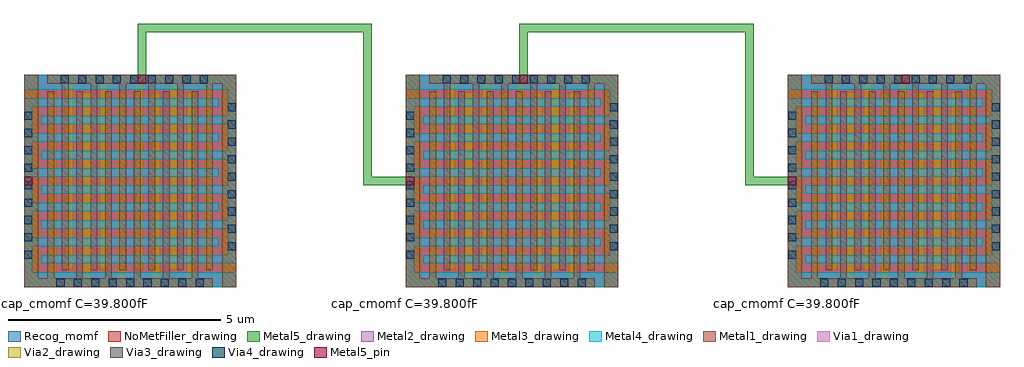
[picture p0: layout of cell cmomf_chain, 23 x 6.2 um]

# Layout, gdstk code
import gdstk
lib = gdstk.Library(unit=1e-6, precision=1e-09)
def R(c, l, rs):  # rectangles x0, y0, x1, y1
    for r in rs: c.add(gdstk.rectangle(r[:2], r[2:], *l))
def A(c, l, x, y, w, h, nx, ny, dx, dy):  # array of equal rectangles
    R(c, l, [(x+i*dx, y+j*dy, x+i*dx+w, y+j*dy+h) for i in range(nx) for j in range(ny)])
Metal1_drawing = (8, 0)
Metal2_drawing = (10, 0)
Via1_drawing = (19, 0)
Via2_drawing = (29, 0)
Metal3_drawing = (30, 0)
Via3_drawing = (49, 0)
Metal4_drawing = (50, 0)
Via4_drawing = (66, 0)
Metal5_drawing = (67, 0)
Metal5_pin = (67, 2)
Recog_momf = (99, 40)
NoMetFiller_drawing = (160, 0)

cmomf_chain = lib.new_cell('cmomf_chain')
A(cmomf_chain, Metal1_drawing, 0, 0, 4.45, 0.21, 3, 1, 9, 0)
A(cmomf_chain, Metal1_drawing, 0.55, 0, 0.16, 4.61, 6, 1, 0.68, 0)
A(cmomf_chain, Metal1_drawing, 9.55, 0, 0.16, 4.61, 6, 1, 0.68, 0)
A(cmomf_chain, Metal1_drawing, 18.55, 0, 0.16, 4.61, 6, 1, 0.68, 0)
A(cmomf_chain, Metal1_drawing, 0.89, 0.39, 0.16, 4.61, 6, 1, 0.68, 0)
A(cmomf_chain, Metal1_drawing, 9.89, 0.39, 0.16, 4.61, 6, 1, 0.68, 0)
A(cmomf_chain, Metal1_drawing, 18.89, 0.39, 0.16, 4.61, 6, 1, 0.68, 0)
A(cmomf_chain, Metal1_drawing, 0.55, 4.79, 4.45, 0.21, 3, 1, 9, 0)
R(cmomf_chain, Metal1_drawing, [(0,0,0.33,5), (4.67,0,5,5), (9,0,9.33,5), (13.67,0,14,5), (18,0,18.33,5), (22.67,0,23,5)])
A(cmomf_chain, Metal2_drawing, 0, 0, 5, 0.345, 3, 2, 9, 4.655)
A(cmomf_chain, Metal2_drawing, 0, 0, 0.205, 4.445, 3, 1, 9, 0)
A(cmomf_chain, Metal2_drawing, 0.42, 0.555, 4.58, 0.2, 3, 5, 9, 0.82)
A(cmomf_chain, Metal2_drawing, 4.795, 0.555, 0.205, 4.445, 3, 1, 9, 0)
A(cmomf_chain, Metal2_drawing, 0, 0.965, 4.58, 0.2, 3, 5, 9, 0.82)
A(cmomf_chain, Via1_drawing, 0.765, 0.01, 0.19, 0.19, 9, 1, 0.41, 0)
A(cmomf_chain, Via1_drawing, 9.765, 0.01, 0.19, 0.19, 9, 1, 0.41, 0)
A(cmomf_chain, Via1_drawing, 18.765, 0.01, 0.19, 0.19, 9, 1, 0.41, 0)
A(cmomf_chain, Via1_drawing, 0.01, 0.665, 0.19, 0.19, 3, 9, 9, 0.41)
A(cmomf_chain, Via1_drawing, 4.8, 0.865, 0.19, 0.19, 3, 9, 9, 0.41)
A(cmomf_chain, Via1_drawing, 0.865, 4.8, 0.19, 0.19, 9, 1, 0.41, 0)
A(cmomf_chain, Via1_drawing, 9.865, 4.8, 0.19, 0.19, 9, 1, 0.41, 0)
A(cmomf_chain, Via1_drawing, 18.865, 4.8, 0.19, 0.19, 9, 1, 0.41, 0)
A(cmomf_chain, Via2_drawing, 0.765, 0.005, 0.19, 0.19, 9, 1, 0.41, 0)
A(cmomf_chain, Via2_drawing, 9.765, 0.005, 0.19, 0.19, 9, 1, 0.41, 0)
A(cmomf_chain, Via2_drawing, 18.765, 0.005, 0.19, 0.19, 9, 1, 0.41, 0)
A(cmomf_chain, Via2_drawing, 0.005, 0.665, 0.19, 0.19, 3, 9, 9, 0.41)
A(cmomf_chain, Via2_drawing, 4.805, 0.865, 0.19, 0.19, 3, 9, 9, 0.41)
A(cmomf_chain, Via2_drawing, 0.865, 4.805, 0.19, 0.19, 9, 1, 0.41, 0)
A(cmomf_chain, Via2_drawing, 9.865, 4.805, 0.19, 0.19, 9, 1, 0.41, 0)
A(cmomf_chain, Via2_drawing, 18.865, 4.805, 0.19, 0.19, 9, 1, 0.41, 0)
A(cmomf_chain, Metal3_drawing, 0, 0, 4.445, 0.2, 3, 1, 9, 0)
A(cmomf_chain, Metal3_drawing, 0.555, 0, 0.2, 4.59, 5, 1, 0.82, 0)
A(cmomf_chain, Metal3_drawing, 9.555, 0, 0.2, 4.59, 5, 1, 0.82, 0)
A(cmomf_chain, Metal3_drawing, 18.555, 0, 0.2, 4.59, 5, 1, 0.82, 0)
A(cmomf_chain, Metal3_drawing, 0.965, 0.41, 0.2, 4.59, 5, 1, 0.82, 0)
A(cmomf_chain, Metal3_drawing, 9.965, 0.41, 0.2, 4.59, 5, 1, 0.82, 0)
A(cmomf_chain, Metal3_drawing, 18.965, 0.41, 0.2, 4.59, 5, 1, 0.82, 0)
A(cmomf_chain, Metal3_drawing, 0.555, 4.8, 4.445, 0.2, 3, 1, 9, 0)
R(cmomf_chain, Metal3_drawing, [(0,0,0.345,5), (4.655,0,5,5), (9,0,9.345,5), (13.655,0,14,5), (18,0,18.345,5), (22.655,0,23,5)])
A(cmomf_chain, Via3_drawing, 0.765, 0.005, 0.19, 0.19, 9, 1, 0.41, 0)
A(cmomf_chain, Via3_drawing, 9.765, 0.005, 0.19, 0.19, 9, 1, 0.41, 0)
A(cmomf_chain, Via3_drawing, 18.765, 0.005, 0.19, 0.19, 9, 1, 0.41, 0)
A(cmomf_chain, Via3_drawing, 0.005, 0.665, 0.19, 0.19, 3, 9, 9, 0.41)
A(cmomf_chain, Via3_drawing, 4.805, 0.865, 0.19, 0.19, 3, 9, 9, 0.41)
A(cmomf_chain, Via3_drawing, 0.865, 4.805, 0.19, 0.19, 9, 1, 0.41, 0)
A(cmomf_chain, Via3_drawing, 9.865, 4.805, 0.19, 0.19, 9, 1, 0.41, 0)
A(cmomf_chain, Via3_drawing, 18.865, 4.805, 0.19, 0.19, 9, 1, 0.41, 0)
A(cmomf_chain, Metal4_drawing, 0, 0, 5, 0.345, 3, 2, 9, 4.655)
A(cmomf_chain, Metal4_drawing, 0, 0, 0.2, 4.445, 3, 1, 9, 0)
A(cmomf_chain, Metal4_drawing, 0.41, 0.555, 4.59, 0.2, 3, 5, 9, 0.82)
A(cmomf_chain, Metal4_drawing, 4.8, 0.555, 0.2, 4.445, 3, 1, 9, 0)
A(cmomf_chain, Metal4_drawing, 0, 0.965, 4.59, 0.2, 3, 5, 9, 0.82)
A(cmomf_chain, Via4_drawing, 0.765, 0.005, 0.19, 0.19, 9, 1, 0.41, 0)
A(cmomf_chain, Via4_drawing, 9.765, 0.005, 0.19, 0.19, 9, 1, 0.41, 0)
A(cmomf_chain, Via4_drawing, 18.765, 0.005, 0.19, 0.19, 9, 1, 0.41, 0)
A(cmomf_chain, Via4_drawing, 0.005, 0.665, 0.19, 0.19, 3, 9, 9, 0.41)
A(cmomf_chain, Via4_drawing, 4.805, 0.865, 0.19, 0.19, 3, 9, 9, 0.41)
A(cmomf_chain, Via4_drawing, 0.865, 4.805, 0.19, 0.19, 9, 1, 0.41, 0)
A(cmomf_chain, Via4_drawing, 9.865, 4.805, 0.19, 0.19, 9, 1, 0.41, 0)
A(cmomf_chain, Via4_drawing, 18.865, 4.805, 0.19, 0.19, 9, 1, 0.41, 0)
A(cmomf_chain, Metal5_drawing, 0, 0, 4.445, 0.2, 3, 1, 9, 0)
A(cmomf_chain, Metal5_drawing, 0.555, 0, 0.2, 4.59, 5, 1, 0.82, 0)
A(cmomf_chain, Metal5_drawing, 9.555, 0, 0.2, 4.59, 5, 1, 0.82, 0)
A(cmomf_chain, Metal5_drawing, 18.555, 0, 0.2, 4.59, 5, 1, 0.82, 0)
A(cmomf_chain, Metal5_drawing, 0.965, 0.41, 0.2, 4.59, 5, 1, 0.82, 0)
A(cmomf_chain, Metal5_drawing, 9.965, 0.41, 0.2, 4.59, 5, 1, 0.82, 0)
A(cmomf_chain, Metal5_drawing, 18.965, 0.41, 0.2, 4.59, 5, 1, 0.82, 0)
A(cmomf_chain, Metal5_drawing, 0.555, 4.8, 4.445, 0.2, 3, 1, 9, 0)
R(cmomf_chain, Metal5_drawing, [(0,0,0.345,5), (4.655,0,5,5), (9,0,9.345,5), (13.655,0,14,5), (18,0,18.345,5), (22.655,0,23,5), (8,2.4,8.2,6.2), (8,2.4,9.2,2.6), (17,2.4,17.2,6.2), (17,2.4,18.2,2.6), (2.675,4.8,2.875,6.2), (11.675,4.8,11.875,6.2), (2.675,6,8.2,6.2), (11.675,6,17.2,6.2)])
A(cmomf_chain, Metal5_pin, 0, 2.4, 0.2, 0.2, 3, 1, 9, 0)
A(cmomf_chain, Metal5_pin, 2.675, 4.8, 0.2, 0.2, 3, 1, 9, 0)
A(cmomf_chain, Recog_momf, 0, 0, 5, 5, 3, 1, 9, 0)
A(cmomf_chain, NoMetFiller_drawing, 0, 0, 5, 5, 3, 1, 9, 0)
cmomf_chain.add(gdstk.Label('cap_cmomf C=39.800fF', (0,-0.5), layer=63, texttype=0))
cmomf_chain.add(gdstk.Label('cap_cmomf C=39.800fF', (9,-0.5), layer=63, texttype=0))
cmomf_chain.add(gdstk.Label('cap_cmomf C=39.800fF', (18,-0.5), layer=63, texttype=0))

lib.write_gds('cmomf_chain.gds')
